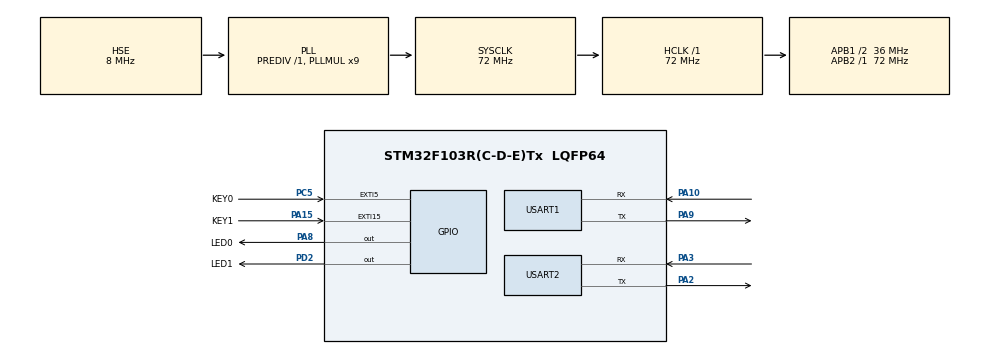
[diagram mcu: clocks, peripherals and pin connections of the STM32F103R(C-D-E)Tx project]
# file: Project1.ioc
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Dma.Request0=USART1_RX
Dma.Request1=USART2_RX
Dma.USART1_RX.0.Direction=DMA_PERIPH_TO_MEMORY
Dma.USART1_RX.0.Instance=DMA1_Channel5
Dma.USART1_RX.0.MemDataAlignment=DMA_MDATAALIGN_BYTE
Dma.USART1_RX.0.MemInc=DMA_MINC_ENABLE
Dma.USART1_RX.0.Mode=DMA_CIRCULAR
Dma.USART1_RX.0.PeriphDataAlignment=DMA_PDATAALIGN_BYTE
Dma.USART1_RX.0.PeriphInc=DMA_PINC_DISABLE
Dma.USART1_RX.0.Priority=DMA_PRIORITY_LOW
Dma.USART2_RX.1.Direction=DMA_PERIPH_TO_MEMORY
Dma.USART2_RX.1.Instance=DMA1_Channel6
Dma.USART2_RX.1.MemDataAlignment=DMA_MDATAALIGN_BYTE
Dma.USART2_RX.1.MemInc=DMA_MINC_ENABLE
Dma.USART2_RX.1.Mode=DMA_CIRCULAR
Dma.USART2_RX.1.PeriphDataAlignment=DMA_PDATAALIGN_BYTE
Dma.USART2_RX.1.PeriphInc=DMA_PINC_DISABLE
Dma.USART2_RX.1.Priority=DMA_PRIORITY_LOW
Mcu.Family=STM32F1
Mcu.Name=STM32F103R(C-D-E)Tx
Mcu.Package=LQFP64
NVIC.DMA1_Channel5_IRQn=true\:0\:0\:true\:false\:true\:false\:true
NVIC.DMA1_Channel6_IRQn=true\:0\:0\:true\:false\:true\:false\:true
NVIC.EXTI15_10_IRQn=true\:2\:0\:true\:false\:true\:true\:true
NVIC.EXTI9_5_IRQn=true\:2\:0\:true\:false\:true\:true\:true
NVIC.PriorityGroup=NVIC_PRIORITYGROUP_4
NVIC.TIM2_IRQn=true\:3\:0\:true\:false\:true\:true\:true
NVIC.TIM3_IRQn=true\:3\:0\:true\:false\:true\:true\:true
NVIC.USART1_IRQn=true\:1\:0\:true\:false\:true\:true\:true
NVIC.USART2_IRQn=true\:1\:0\:true\:false\:true\:true\:true
PA10.Mode=Asynchronous
PA10.Signal=USART1_RX
PA15.GPIO_Label=KEY1
PA15.GPIO_PuPd=GPIO_PULLUP
PA15.Signal=GPXTI15
PA2.Mode=Asynchronous
PA2.Signal=USART2_TX
PA3.Mode=Asynchronous
PA3.Signal=USART2_RX
PA8.GPIO_Label=LED0
PA8.Signal=GPIO_Output
PA9.Mode=Asynchronous
PA9.Signal=USART1_TX
PC5.GPIO_Label=KEY0
PC5.GPIO_PuPd=GPIO_PULLUP
PC5.Signal=GPXTI5
PD0-OSC_IN.Mode=HSE-External-Oscillator
PD0-OSC_IN.Signal=RCC_OSC_IN
PD1-OSC_OUT.Mode=HSE-External-Oscillator
PD1-OSC_OUT.Signal=RCC_OSC_OUT
PD2.GPIO_Label=LED1
PD2.Signal=GPIO_Output
ProjectManager.HeapSize=0x200
ProjectManager.StackSize=0x400
ProjectManager.TargetToolchain=STM32CubeIDE
RCC.AHBFreq_Value=72000000
RCC.APB1CLKDivider=RCC_HCLK_DIV2
RCC.APB1Freq_Value=36000000
RCC.APB1TimFreq_Value=72000000
RCC.APB2Freq_Value=72000000
RCC.APB2TimFreq_Value=72000000
RCC.HCLKFreq_Value=72000000
RCC.PLLMUL=RCC_PLL_MUL9
RCC.PLLSourceVirtual=RCC_PLLSOURCE_HSE
RCC.SYSCLKFreq_VALUE=72000000
RCC.SYSCLKSource=RCC_SYSCLKSOURCE_PLLCLK
RCC.USBFreq_Value=72000000
TIM2.Period=9999
TIM2.Prescaler=35999
TIM3.Period=9999
TIM3.Prescaler=7199
USART1.VirtualMode=VM_ASYNC
USART2.VirtualMode=VM_ASYNC
VP_SYS_VS_ND.Mode=No_Debug
VP_TIM2_VS_ClockSourceINT.Mode=Internal
VP_TIM3_VS_ClockSourceINT.Mode=Internal
board=custom

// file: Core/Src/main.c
/* USER CODE BEGIN Header */
/**
  ******************************************************************************
  * @file           : main.c
  * @brief          : Main program body
  ******************************************************************************
  * @attention
  *
  * <h2><center>&copy; Copyright (c) 2021 STMicroelectronics.
  * All rights reserved.</center></h2>
  *
  * This software component is licensed by ST under BSD 3-Clause license,
  * the "License"; You may not use this file except in compliance with the
  * License. You may obtain a copy of the License at:
  *                        opensource.org/licenses/BSD-3-Clause
  *
  ******************************************************************************
  */
/* USER CODE END Header */
#include "main.h"
#include "dma.h"
#include "tim.h"
#include "usart.h"
#include "gpio.h"

/* USER CODE BEGIN Includes */
#include "lcd.h"
#include <stdio.h>
/* USER CODE END Includes */

/* USER CODE BEGIN PV */
// UART_HandleTypeDef huart1;
extern uint8_t rxBuffer[20];
extern TIM_HandleTypeDef htim2;
extern TIM_HandleTypeDef htim3;

uint8_t uart1_rx_buffer[2048]; // for uart1 receive buffer
uint8_t uart2_rx_buffer[2048]; // for uart2 receive buffer

extern DMA_HandleTypeDef hdma_usart1_rx;
extern DMA_HandleTypeDef hdma_usart2_rx;
extern UART_HandleTypeDef huart1;
extern UART_HandleTypeDef huart2;
extern int esp8266_mode;
/* USER CODE END PV */

void SystemClock_Config(void);
/* USER CODE BEGIN PFP */
void Question();
void Judge();
void Answer(uint8_t *);

void send_message(uint8_t *msg);
void send_msg_uart1(uint8_t *, int);
void transmit1(uint8_t *msg);
void send_message_without_delay(uint8_t *msg);
/* USER CODE END PFP */

/* USER CODE BEGIN 0 */
extern UART_HandleTypeDef haurt1;
extern uint8_t rxBuffer[20];
char time_l[20]; // lyu
/* USER CODE END 0 */

int main(void)
{

  /* MCU Configuration--------------------------------------------------------*/

  /* Reset of all peripherals, Initializes the Flash interface and the Systick. */
  HAL_Init();

  /* Configure the system clock */
  SystemClock_Config();

  /* USER CODE BEGIN SysInit */
  LCD_Init();
  /* USER CODE END SysInit */

  /* Initialize all configured peripherals */
  MX_GPIO_Init();
  MX_DMA_Init();
  MX_TIM2_Init();
  MX_TIM3_Init();
  MX_USART1_UART_Init();
  MX_USART2_UART_Init();
  /* USER CODE BEGIN 2 */

  // __HAL_UART_ENABLE_IT(&huart1, UART_IT_IDLE);
  // HAL_UART_Receive_DMA(&huart1, (uint8_t *)uart1_rx_buffer, 2048);
  __HAL_UART_ENABLE_IT(&huart1, UART_IT_IDLE);
  HAL_UART_Receive_DMA(&huart1, (uint8_t *)uart1_rx_buffer, 2048);

  __HAL_UART_ENABLE_IT(&huart2, UART_IT_IDLE);
  HAL_UART_Receive_DMA(&huart2, (uint8_t *)uart2_rx_buffer, 2048);
  // HAL_UART_Receive_IT(&huart1, (uint8_t *)rxBuffer, 1);
  __HAL_TIM_CLEAR_FLAG(&htim2, TIM_SR_UIF); // lyu 清除tim 的flag�???? 否则刚开始start就会进入回调函数
  __HAL_TIM_CLEAR_FLAG(&htim3, TIM_SR_UIF); // lyu 清除tim 的flag�???? 否则刚开始start就会进入回调函数
  /* USER CODE END 2 */

  /* Infinite loop */
  /* USER CODE BEGIN WHILE */
  // esp8266_mode = 1;
  // send_msg_uart1((uint8_t *)"SET AS SERVER\r\n", 0);
  // send_cmd("AT+CWMODE=3\r\n", 1000);
  esp8266_mode = 1;
  init_server();
  LCD_ShowString(30, 40, 200, 24, 16, "Connecting...");
  // send_msg_uart1((uint8_t *)"Init Server End\r\n", 0);
  // Question();
  while (1)
  {
    /* USER CODE END WHILE */

  }
}

void SystemClock_Config(void)
{
  RCC_OscInitTypeDef RCC_OscInitStruct = {0};
  RCC_ClkInitTypeDef RCC_ClkInitStruct = {0};

  /** Initializes the RCC Oscillators according to the specified parameters
  * in the RCC_OscInitTypeDef structure.
  */
  RCC_OscInitStruct.OscillatorType = RCC_OSCILLATORTYPE_HSE;
  RCC_OscInitStruct.HSEState = RCC_HSE_ON;
  RCC_OscInitStruct.HSEPredivValue = RCC_HSE_PREDIV_DIV1;
  RCC_OscInitStruct.HSIState = RCC_HSI_ON;
  RCC_OscInitStruct.PLL.PLLState = RCC_PLL_ON;
  RCC_OscInitStruct.PLL.PLLSource = RCC_PLLSOURCE_HSE;
  RCC_OscInitStruct.PLL.PLLMUL = RCC_PLL_MUL9;
  if (HAL_RCC_OscConfig(&RCC_OscInitStruct) != HAL_OK)
  {
    Error_Handler();
  }
  /** Initializes the CPU, AHB and APB buses clocks
  */
  RCC_ClkInitStruct.ClockType = RCC_CLOCKTYPE_HCLK | RCC_CLOCKTYPE_SYSCLK | RCC_CLOCKTYPE_PCLK1 | RCC_CLOCKTYPE_PCLK2;
  RCC_ClkInitStruct.SYSCLKSource = RCC_SYSCLKSOURCE_PLLCLK;
  RCC_ClkInitStruct.AHBCLKDivider = RCC_SYSCLK_DIV1;
  RCC_ClkInitStruct.APB1CLKDivider = RCC_HCLK_DIV2;
  RCC_ClkInitStruct.APB2CLKDivider = RCC_HCLK_DIV1;

  if (HAL_RCC_ClockConfig(&RCC_ClkInitStruct, FLASH_LATENCY_2) != HAL_OK)
  {
    Error_Handler();
  }
}

/* USER CODE BEGIN 4 */

enum QuestionerState
{
  QuestionState,
  AnswerState,
  JudgeState
} state;

struct question
{
  int index;
  char *content;
  char *answerList;
  int answerIndex;
  int pointAward;
  int time;
};

struct question questions[4] = {
    {1, "Do you like embedded system course?\n", "0: Yes 1:No", 0, 20, 50},
    {2, "Do you like C?\n", "0: Yes 1:No", 1, 100, 50},
    {3, "Do you like Disco Elysium?\n", "0: Yes 1:No", 1, 150, 100},
    {4, "Do you like Divine Original Sin 2?\n", "0: Yes 1:No", 1, 150, 20}};

int answerIndex = 0;

struct question *q;

int point = 0;

int time_left = 0;

char *answer;
unsigned char msg[100];

void Question()
{
  state = QuestionState;

  q = &questions[answerIndex];
  POINT_COLOR = RED;
  LCD_Clear(WHITE);
  // LCD_Color_Fill(0,0,240, 320,WHITE);
  LCD_ShowString(30, 40, 200, 24, 16, "Question   Time:");
  char strs[20];
  sprintf(strs, "point: %d", q->pointAward);
  LCD_ShowString(30, 70, 200, 16, 12, strs);
  LCD_ShowString(30, 110, 200, 16, 12, q->content);
  LCD_ShowString(30, 150, 200, 16, 12, q->answerList);
  sprintf(strs, "answer: %d", q->answerIndex);
  LCD_ShowString(30, 170, 200, 16, 12, strs);
  LCD_ShowString(30, 190, 200, 16, 12, "Click any key to send the question.");
  // LCD_ShowString(30, 70, 200, 16, 16, q->content);
  POINT_COLOR = BLACK;
  HAL_UART_Transmit(&huart1, "\nEnter Question Mode\n", strlen("\nEnter Question Mode\n"), 0xffff);
  time_left = q->time;
  answerIndex++;
  answerIndex %= 4;
}

void Answer(uint8_t *ans)
{
  // switch (state)
  // {
  // case AnswerState:
  char a[100];
  // sprintf(a, "Answer is: |%s|", ans);
  // transmit1(a);
  ans = strchr(ans, ':') + 1;
  sprintf(a, "\nAnswer is: |%s|\n", ans);
  transmit1(a);
  if (atoi(ans) == q->answerIndex)
  {
    sprintf(msg, "Check right: %d %d\n", atoi(ans), q->answerIndex);
    // send_message(msg);
    HAL_UART_Transmit(&huart1, msg, strlen(msg), HAL_MAX_DELAY);
    HAL_TIM_Base_Stop_IT(&htim2);
    HAL_TIM_Base_Stop_IT(&htim3); //lyu
    // LCD_ShowString(30, 70, 200, 16, 12, "Check right!");
    point = point + q->pointAward;
    // HAL_Delay(500);
    Judge();
  }
  else
  {
    sprintf(msg, "Check wrong: %d %d\n", atoi(ans), q->answerIndex);
    // send_message(msg);
    HAL_UART_Transmit(&huart1, msg, strlen(msg), HAL_MAX_DELAY);
    LCD_Clear(RED);
    // LCD_Color_Fill(0,0,240, 320,RED);
    LCD_ShowString(30, 70, 200, 16, 12, "Check wrong!");
  }
  //   break;

  // default:
  //   break;
  // }
}

void Judge()
{

  HAL_UART_Transmit(&huart1, "Enter Judge\n", strlen("Enter Judge\n"), HAL_MAX_DELAY);
  state = AnswerState;
  char strs[64];
  sprintf(strs, "F:You get point:|%d|", point);
  LCD_ShowString(30, 200, 200, 16, 12, "Click 1 to send feedback.");
  LCD_Clear(WHITE);
  // LCD_Color_Fill(0,0,240, 320,WHITE);
  LCD_ShowString(30, 70, 200, 16, 12, strs);

  //  uint32_t delay=1008600;
  //  while(delay--){
  //
  //  }
  //  transmit1("\nStart Delay\n");
  //   HAL_Delay(500);
  //   transmit1("\nEND Delay\n");
  // HAL_TIM_Base_Stop_IT(&htim2); // lyu
  // HAL_TIM_Base_Stop_IT(&htim3); // lyu
}

void SendFeedBack()
{
  state = JudgeState;
  char strs[64];
  transmit1("\nStart to Send Feedback\n");
  sprintf(strs, "F:You get point:|%d|", point);
  LCD_ShowString(30, 200, 200, 16, 12, "Click 1 to play and 0 to reset.");
  HAL_TIM_Base_Stop_IT(&htim2); // lyu
  HAL_TIM_Base_Stop_IT(&htim3); // lyu
  send_message_without_delay(strs);
}

void HAL_GPIO_EXTI_Callback(uint16_t GPIO_Pin)
{
  char messages_send[1024];
  switch (GPIO_Pin)

  {
  case KEY0_Pin:
    HAL_UART_Transmit(&huart1, (uint8_t *)"Key 0 pressed\n", 20, HAL_MAX_DELAY);

    if (HAL_GPIO_ReadPin(KEY0_GPIO_Port, KEY0_Pin) == GPIO_PIN_RESET)
    {

      switch (state)
      {
        // case QuestionState:

        //   sprintf(messages_send, "Q:%s|%s|%d|%d|", q->content, q->answerList, q->pointAward, q->time);
        //   send_message(messages_send);
        //   transmit1(messages_send);

        //   LCD_Clear(GREEN);
        //   // LCD_Color_Fill(0,0,240, 320,GREEN);
        //   LCD_ShowString(30, 40, 200, 24, 16, "Question   Time:");
        //   LCD_ShowString(30, 70, 200, 16, 12, msg);
        //   // time_left = 5; // lyu
        //   HAL_TIM_Base_Start_IT(&htim2);
        //   HAL_TIM_Base_Start_IT(&htim3); // lyu
        //   state = AnswerState;

        //   break;
        // case AnswerState:
        //   SendFeedBack();
        //   break;

      case AnswerState:
		  SendFeedBack();
		  break;

      case JudgeState:
        answerIndex = 0;
        state = QuestionState;
        Question();
        break;

      default:
        break;
      }
    }
    break;
  case KEY1_Pin:
    if (HAL_GPIO_ReadPin(KEY1_GPIO_Port, KEY1_Pin) == GPIO_PIN_RESET)
    {
      HAL_UART_Transmit(&huart1, (uint8_t *)"\nKey 1 pressed\n", 16, HAL_MAX_DELAY);

      switch (state)
      {
      case QuestionState:
        sprintf(messages_send, "Q:%s|%s|%d|%d|", q->content, q->answerList, q->pointAward, q->time);
        send_message(messages_send);
        transmit1(messages_send);

        LCD_Clear(GREEN);
        // LCD_Color_Fill(0,0,240, 320,GREEN);
        LCD_ShowString(30, 40, 200, 24, 16, "Question   Time:");
        LCD_ShowString(30, 70, 200, 16, 12, msg);
        // time_left = 5; // lyu
        HAL_TIM_Base_Start_IT(&htim2);
        HAL_TIM_Base_Start_IT(&htim3); // lyu
        state = AnswerState;

        break;
      case JudgeState:
        state = QuestionState;
        Question();
        break;

      case AnswerState:
        SendFeedBack();
        break;

      default:
        break;
      }
    }
  }
}

void HAL_TIM_PeriodElapsedCallback(TIM_HandleTypeDef *htim)
{
  // lyu test
  if (htim->Instance == htim3.Instance)
  {
    time_left--;
    sprintf(time_l, "%d\n", time_left);
    char strs[20];
    sprintf(strs, "Question   Time:%d s  ", time_left);
    LCD_ShowString(30, 40, 200, 24, 16, strs);
    HAL_UART_Transmit(&huart1, (uint8_t *)time_l, strlen(time_l), HAL_MAX_DELAY);
    if (time_left == 0)
    {
      HAL_UART_Transmit(&huart1, "timer\n", strlen("timer\n"), HAL_MAX_DELAY);
      Judge();
    }
  }
  // if (htim->Instance == htim2.Instance)
  // {
  //   HAL_UART_Transmit(&huart1, "timer\n", strlen("timer\n"), HAL_MAX_DELAY);
  //   // send_message("timer\n");
  //   Judge();
  // }
}

/* USER CODE END 4 */

void Error_Handler(void)
{
  __disable_irq();
  while (1)
  {
  }
}

/************************ (C) COPYRIGHT STMicroelectronics *****END OF FILE****/
